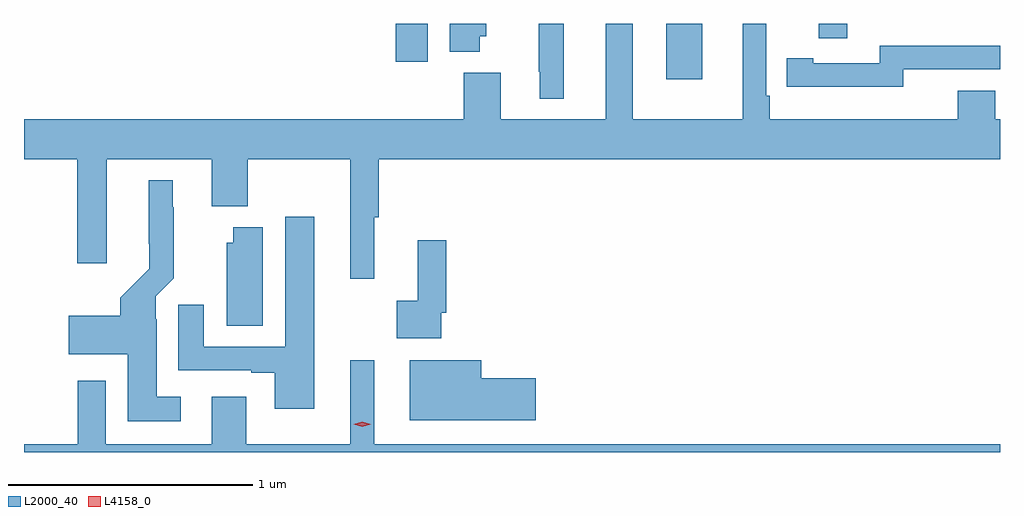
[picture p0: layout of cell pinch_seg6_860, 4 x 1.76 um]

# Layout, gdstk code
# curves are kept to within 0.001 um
import gdstk
lib = gdstk.Library(unit=1e-6, precision=1e-09)
def R(c, l, rs):  # rectangles x0, y0, x1, y1
    for r in rs: c.add(gdstk.rectangle(r[:2], r[2:], *l))
def P(c, l, *ps):  # polygons
    for p in ps: c.add(gdstk.Polygon(p, *l))
L2000_40 = (2000, 40)
L4158_0 = (4158, 0)

pinch_seg6_860 = lib.new_cell('pinch_seg6_860')
R(pinch_seg6_860, L2000_40, [(229.52,917.028,229.666,917.256), (228.41,917.1,228.541,917.256), (230.144,917.196,230.261,917.256)])
P(pinch_seg6_860, L2000_40, [(228.754,917.205),(228.781,917.205),(228.781,917.256),(228.632,917.256),(228.632,917.141),(228.754,917.141)],
  [(228.323,916.464),(228.341,916.464),(228.341,916.7),(230.887,916.7),(230.887,916.864),(230.867,916.864),(230.867,916.981),(230.714,916.981),(230.714,916.864),(229.943,916.864),(229.943,916.96),(229.929,916.96),(229.929,917.256),(229.832,917.256),(229.832,916.864),(229.381,916.864),(229.381,917.256),(229.271,917.256),(229.271,916.864),(228.841,916.864),(228.841,917.056),(228.689,917.056),(228.689,916.864),(226.887,916.864),(226.887,916.7),(227.105,916.7),(227.105,916.275),(227.227,916.275),(227.227,916.7),(227.657,916.7),(227.657,916.508),(227.805,916.508),(227.805,916.7),(228.224,916.7),(228.224,916.212),(228.323,916.212)],
  [(229.099,917.256),(228.997,917.256),(228.997,917.059),(229.001,917.059),(229.001,916.949),(229.099,916.949)],
  [(230.49,917.07),(230.887,917.07),(230.887,917.166),(230.394,917.166),(230.394,917.094),(230.122,917.094),(230.122,917.114),(230.014,917.114),(230.014,916.998),(230.122,916.998),(230.122,916.997),(230.49,916.997)],
  [(227.53,915.727),(227.431,915.727),(227.431,916.046),(227.427,916.046),(227.427,916.14),(227.501,916.214),(227.501,916.505),(227.497,916.505),(227.497,916.615),(227.399,916.615),(227.4,916.252),(227.282,916.134),(227.282,916.06),(227.07,916.06),(227.07,915.902),(227.312,915.902),(227.312,915.626),(227.53,915.626)],
  [(228.076,916.465),(227.957,916.465),(227.957,915.933),(227.623,915.933),(227.623,916.105),(227.519,916.105),(227.519,915.837),(227.819,915.837),(227.819,915.825),(227.915,915.825),(227.915,915.678),(228.076,915.678)],
  [(227.866,916.423),(227.744,916.423),(227.744,916.359),(227.717,916.359),(227.717,916.018),(227.866,916.018)],
  [(228.597,916.072),(228.617,916.072),(228.617,916.369),(228.5,916.369),(228.5,916.121),(228.414,916.121),(228.414,915.968),(228.597,915.968)],
  [(230.887,915.532),(228.322,915.532),(228.322,915.877),(228.224,915.877),(228.224,915.532),(227.797,915.532),(227.797,915.727),(227.657,915.727),(227.657,915.532),(227.223,915.532),(227.223,915.793),(227.107,915.793),(227.107,915.532),(226.887,915.532),(226.887,915.5),(230.887,915.5)],
  [(228.985,915.803),(228.76,915.803),(228.76,915.877),(228.467,915.877),(228.467,915.632),(228.985,915.632)])
P(pinch_seg6_860, L4158_0, [(228.273,915.605),(228.238,915.615),(228.238,915.615),(228.238,915.615),(228.273,915.625),(228.309,915.615),(228.309,915.614),(228.309,915.614)])

lib.write_gds('pinch_seg6_860.gds')
